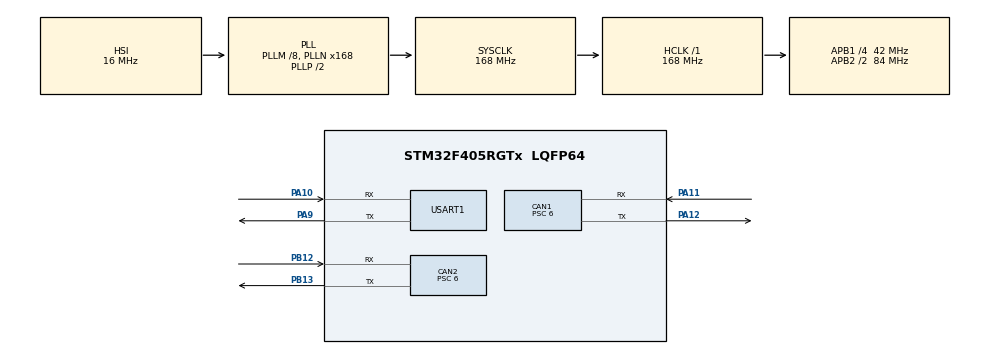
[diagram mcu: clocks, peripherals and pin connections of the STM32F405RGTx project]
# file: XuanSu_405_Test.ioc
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CAN1.ABOM=ENABLE
CAN1.AWUM=ENABLE
CAN1.BS1=CAN_BS1_3TQ
CAN1.BS2=CAN_BS2_3TQ
CAN1.CalculateBaudRate=1000000
CAN1.CalculateTimeBit=1000
CAN1.CalculateTimeQuantum=142.85714285714286
CAN1.NART=ENABLE
CAN1.Prescaler=6
CAN2.ABOM=ENABLE
CAN2.AWUM=ENABLE
CAN2.BS1=CAN_BS1_3TQ
CAN2.BS2=CAN_BS2_3TQ
CAN2.CalculateBaudRate=1000000
CAN2.CalculateTimeBit=1000
CAN2.CalculateTimeQuantum=142.85714285714286
CAN2.NART=ENABLE
CAN2.Prescaler=6
Mcu.Family=STM32F4
Mcu.Name=STM32F405RGTx
Mcu.Package=LQFP64
NVIC.CAN1_RX0_IRQn=true\:0\:0\:false\:false\:true\:true\:true\:true
NVIC.CAN1_RX1_IRQn=true\:0\:0\:false\:false\:true\:true\:true\:true
NVIC.CAN1_SCE_IRQn=true\:0\:0\:false\:false\:true\:true\:true\:true
NVIC.PriorityGroup=NVIC_PRIORITYGROUP_4
NVIC.TIM7_IRQn=true\:15\:0\:false\:false\:true\:false\:true\:true
NVIC.TimeBase=TIM7_IRQn
NVIC.TimeBaseIP=TIM7
PA10.Mode=Asynchronous
PA10.Signal=USART1_RX
PA11.Mode=CAN_Activate
PA11.Signal=CAN1_RX
PA12.Mode=CAN_Activate
PA12.Signal=CAN1_TX
PA13.Mode=Serial_Wire
PA13.Signal=SYS_JTMS-SWDIO
PA14.Mode=Serial_Wire
PA14.Signal=SYS_JTCK-SWCLK
PA9.Mode=Asynchronous
PA9.Signal=USART1_TX
PB12.Mode=CAN_Activate
PB12.Signal=CAN2_RX
PB13.Mode=CAN_Activate
PB13.Signal=CAN2_TX
PH0-OSC_IN.Mode=HSE-External-Oscillator
PH0-OSC_IN.Signal=RCC_OSC_IN
PH1-OSC_OUT.Mode=HSE-External-Oscillator
PH1-OSC_OUT.Signal=RCC_OSC_OUT
ProjectManager.HeapSize=0x200
ProjectManager.StackSize=0x400
ProjectManager.TargetToolchain=MDK-ARM V5.32
RCC.48MHZClocksFreq_Value=84000000
RCC.AHBFreq_Value=168000000
RCC.APB1CLKDivider=RCC_HCLK_DIV4
RCC.APB1Freq_Value=42000000
RCC.APB1TimFreq_Value=84000000
RCC.APB2CLKDivider=RCC_HCLK_DIV2
RCC.APB2Freq_Value=84000000
RCC.APB2TimFreq_Value=168000000
RCC.CortexFreq_Value=168000000
RCC.HCLKFreq_Value=168000000
RCC.HSE_VALUE=25000000
RCC.HSI_VALUE=16000000
RCC.LSE_VALUE=32768
RCC.PLLM=8
RCC.PLLN=168
RCC.SYSCLKFreq_VALUE=168000000
RCC.SYSCLKSource=RCC_SYSCLKSOURCE_PLLCLK
RCC.VCOOutputFreq_Value=336000000
USART1.VirtualMode=VM_ASYNC
VP_SYS_VS_tim7.Mode=TIM7
board=custom

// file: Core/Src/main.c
/* USER CODE BEGIN Header */
/**
  ******************************************************************************
  * @file           : main.c
  * @brief          : Main program body
  ******************************************************************************
  * @attention
  *
  * Copyright (c) 2023 STMicroelectronics.
  * All rights reserved.
  *
  * This software is licensed under terms that can be found in the LICENSE file
  * in the root directory of this software component.
  * If no LICENSE file comes with this software, it is provided AS-IS.
  *
  ******************************************************************************
  */
/* USER CODE END Header */
#include "main.h"
#include "can.h"
#include "usart.h"
#include "gpio.h"

/* USER CODE BEGIN Includes */
#include <stdio.h>
#include "GM6020.h"
#include "can_bsp.h"
/* USER CODE END Includes */

void SystemClock_Config(void);

/* USER CODE BEGIN 0 */
int fputc(int ch, FILE *f){ HAL_UART_Transmit(&huart1, (uint8_t *)&ch, 1, 0xffff); return ch;}
/* USER CODE END 0 */

int main(void)
{

  /* MCU Configuration--------------------------------------------------------*/

  /* Reset of all peripherals, Initializes the Flash interface and the Systick. */
  HAL_Init();

  /* Configure the system clock */
  SystemClock_Config();

  /* Initialize all configured peripherals */
  MX_GPIO_Init();
  MX_USART1_UART_Init();
  MX_CAN1_Init();
  MX_CAN2_Init();
  /* USER CODE BEGIN 2 */
//	CAN_Init_Default(&hcan1);

	CAN_Init_Default(&hcan1);

  GM6020_PID_Speed pid_speed = {0};
  pid_speed.Kp = 25;
  pid_speed.Ki = 2.8;
  pid_speed.Kd = 0.0;
  pid_speed.dt = 1;
  pid_speed.integral_max = 20000;
  pid_speed.integral_min = -20000;
  pid_speed.integral_start_error = 7000000;
  pid_speed.integral_dead_error = 2;
  pid_speed.output_max = 20000;
  pid_speed.output_min = -20000;

  GM6020_PID_Position pid_position = {0};
  pid_position.Kp = 21.5;
  pid_position.Ki = 2.3;
  pid_position.Kd = 0.00;

  pid_position.dt = 1;
  pid_position.integral_max = 20000;
  pid_position.integral_min = -20000;
  pid_position.integral_start_error = 70;
  pid_position.integral_dead_error = 0;
  pid_position.output_max = 20000;
  pid_position.output_min = -20000;

  GM6020_LoadCAN(&hcan1);
  GM6020_Init(&pid_speed, &pid_position, 4);

  /* USER CODE END 2 */

  /* Infinite loop */
  /* USER CODE BEGIN WHILE */
  while (1)
  {
	  printf("Jocker\r\n");
    /* USER CODE END WHILE */

  }
}

void SystemClock_Config(void)
{
  RCC_OscInitTypeDef RCC_OscInitStruct = {0};
  RCC_ClkInitTypeDef RCC_ClkInitStruct = {0};

  /** Configure the main internal regulator output voltage
  */
  __HAL_RCC_PWR_CLK_ENABLE();
  __HAL_PWR_VOLTAGESCALING_CONFIG(PWR_REGULATOR_VOLTAGE_SCALE1);

  /** Initializes the RCC Oscillators according to the specified parameters
  * in the RCC_OscInitTypeDef structure.
  */
  RCC_OscInitStruct.OscillatorType = RCC_OSCILLATORTYPE_HSI;
  RCC_OscInitStruct.HSIState = RCC_HSI_ON;
  RCC_OscInitStruct.HSICalibrationValue = RCC_HSICALIBRATION_DEFAULT;
  RCC_OscInitStruct.PLL.PLLState = RCC_PLL_ON;
  RCC_OscInitStruct.PLL.PLLSource = RCC_PLLSOURCE_HSI;
  RCC_OscInitStruct.PLL.PLLM = 8;
  RCC_OscInitStruct.PLL.PLLN = 168;
  RCC_OscInitStruct.PLL.PLLP = RCC_PLLP_DIV2;
  RCC_OscInitStruct.PLL.PLLQ = 4;
  if (HAL_RCC_OscConfig(&RCC_OscInitStruct) != HAL_OK)
  {
    Error_Handler();
  }

  /** Initializes the CPU, AHB and APB buses clocks
  */
  RCC_ClkInitStruct.ClockType = RCC_CLOCKTYPE_HCLK|RCC_CLOCKTYPE_SYSCLK
                              |RCC_CLOCKTYPE_PCLK1|RCC_CLOCKTYPE_PCLK2;
  RCC_ClkInitStruct.SYSCLKSource = RCC_SYSCLKSOURCE_PLLCLK;
  RCC_ClkInitStruct.AHBCLKDivider = RCC_SYSCLK_DIV1;
  RCC_ClkInitStruct.APB1CLKDivider = RCC_HCLK_DIV4;
  RCC_ClkInitStruct.APB2CLKDivider = RCC_HCLK_DIV2;

  if (HAL_RCC_ClockConfig(&RCC_ClkInitStruct, FLASH_LATENCY_5) != HAL_OK)
  {
    Error_Handler();
  }
}

/* USER CODE BEGIN 4 */
void HAL_CAN_RxFifo0MsgPendingCallback(CAN_HandleTypeDef *hcan)
{

  if (hcan->Instance == hcan1.Instance)
  {
    CAN_RxHeaderTypeDef RxMessage;
    uint8_t RxData[8] = {0};
    HAL_CAN_GetRxMessage(hcan, CAN_RX_FIFO0, &RxMessage, RxData);

    if (RxMessage.IDE == CAN_ID_STD)
    {

      if (RxMessage.StdId >= 0x205 && RxMessage.StdId <= 0x20B)
		  {

			GM6020_RecvCanFeedback(RxMessage.StdId, RxData);

        static int check = 0;
        if(check == 0)
        {
          GM6020_Set_Position_ZeroPoint(4);
          check = 1;
        }

        GM6020_Set_Position(8192/2,4);
			}
    }
  }
}
/* USER CODE END 4 */

void HAL_TIM_PeriodElapsedCallback(TIM_HandleTypeDef *htim)
{
  if (htim->Instance == TIM7) {
    HAL_IncTick();
  }
}

void Error_Handler(void)
{
  __disable_irq();
  while (1)
  {
  }
}
